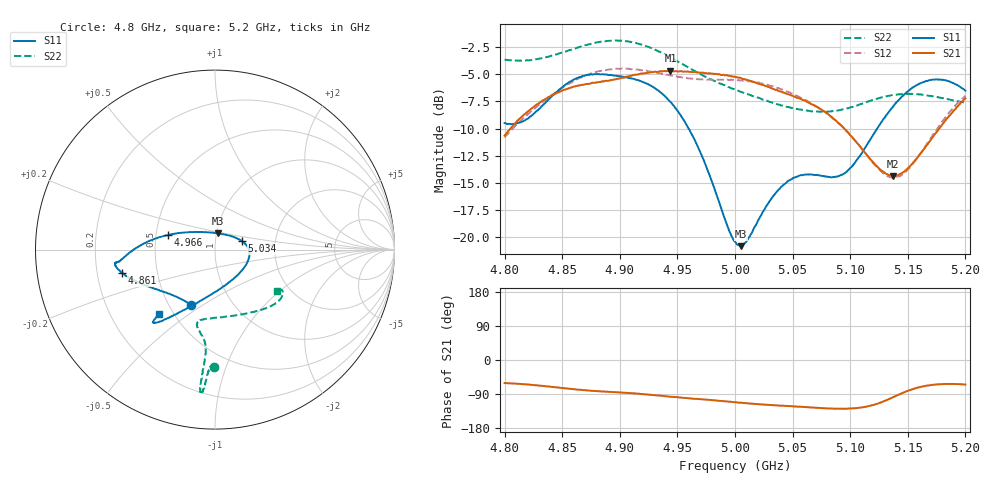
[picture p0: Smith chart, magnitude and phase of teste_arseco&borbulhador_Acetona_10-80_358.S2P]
! Network Analyzer HP8722D
! Hewlett-Packard
! Data name: Linha & Wilkinson
! Saver's name: Rodrigo Anjos
! Comments: Teste da utilização de aquisição
! continua pelo VNA HP8722D
! Time and date: 17/4/2025 17:20
!  Frequency  S11  S21  S12  S22
# HZ  S  MA R 50
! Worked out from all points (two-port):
!   401 points, 4.8 GHz to 5.2 GHz, reference 50 ohm
!   highest |S21| = -4.68 dB at 4.944 GHz (marker M1); lowest = -14.3 dB at 5.137 GHz (marker M2)
!   |S21| within 3 dB of the highest: 4.83 GHz to 5.065 GHz (235.7 MHz wide, 4.76 % of centre); 5.195509 GHz to end of sweep
!   lowest |S11| = -20.8 dB at 5.005 GHz (marker M3), VSWR 1.20, Z = 50.7 + j9.2 ohm
!   |S11| at or under -10 dB: 4.96 GHz to 5.123 GHz (163.5 MHz wide, 3.24 % of centre)
!   |S22| runs from -8.5 to -1.9 dB; largest |S21 - S12| = 0.87
!   S11 on the Smith chart (normalised r, x): 4.8 GHz: 0.64, -0.44; 4.861 GHz: 0.31, -0.11; 4.966 GHz: 0.58, +0.10; 5.034 GHz: 1.34, +0.13; 5.2 GHz: 0.42, -0.39
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4.8e9  0.3354 -114.0  0.2939 -60.9  0.2879 -175.0  0.6561 -90.3
4.819e9  0.3498 -134.0  0.3749 -64.4  0.3634 -174.0  0.6517 -91.8
4.861e9  0.5345 -165.9  0.4941 -77.3  0.5268 -177.2  0.7376 -94.0
4.867e9  0.5495 -168.3  0.5024 -79.1  0.5447 -178.3  0.7557 -94.3
4.901e9  0.5495 -172.6  0.5391 -85.8  0.5969 175.0  0.8024 -95.8
4.934e9  0.4707 -178.5  0.578 -94.0  0.5703 171.6  0.7147 -96.1
4.944e9  0.4192 177.1  0.5833 -96.7  0.555 171.6  0.6714 -95.8
4.966e9  0.2733 162.6  0.5748 -102.4  0.5342 173.4  0.5771 -95.0
5e9  0.09573 99.1  0.548 -111.6  0.5293 175.9  0.4781 -99.2
5.005e9  0.09121 80.7  0.5401 -112.8  0.5261 175.8  0.4667 -100.3
5.011e9  0.09796 60.0  0.529 -114.5  0.5231 175.7  0.4553 -101.7
5.034e9  0.1568 17.9  0.4797 -119.4  0.4916 174.4  0.4138 -103.3
5.05e9  0.187 1.9  0.4477 -122.3  0.456 173.8  0.3935 -99.1
5.067e9  0.1946 -16.4  0.4082 -125.2  0.413 173.6  0.3795 -90.1
5.096e9  0.1988 -67.2  0.3117 -128.6  0.3116 174.6  0.3905 -67.6
5.123e9  0.3144 -108.7  0.2126 -115.8  0.2107 -170.4  0.4339 -48.5
5.134e9  0.3806 -117.5  0.1932 -102.7  0.1899 -155.7  0.4482 -43.0
5.137e9  0.3985 -119.2  0.1918 -98.6  0.1884 -150.8  0.4513 -41.7
5.151e9  0.4738 -125.3  0.2104 -80.2  0.2071 -129.7  0.4572 -36.6
5.17e9  0.5293 -129.5  0.2808 -66.1  0.2866 -112.3  0.4471 -32.2
5.184e9  0.5248 -130.7  0.3522 -63.2  0.3637 -107.4  0.4328 -31.3
5.2e9  0.4723 -131.0  0.4356 -64.7  0.4481 -106.9  0.4159 -33.6
